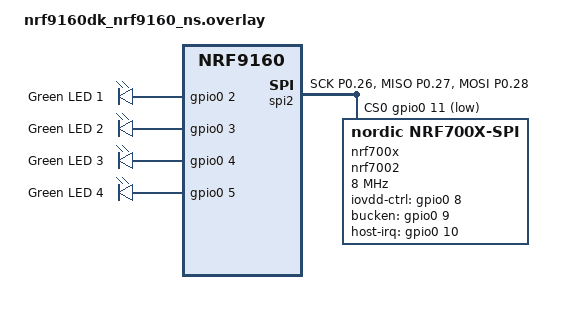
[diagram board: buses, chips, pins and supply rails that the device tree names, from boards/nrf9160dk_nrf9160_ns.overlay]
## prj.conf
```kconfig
#
# Copyright (c) 2021 Nordic Semiconductor ASA
#
# SPDX-License-Identifier: LicenseRef-Nordic-5-Clause
#

# General config
CONFIG_PICOLIBC=y
CONFIG_ASSERT=y
CONFIG_REBOOT=y
CONFIG_FPU=y

# Heap and stacks
CONFIG_HEAP_MEM_POOL_SIZE=47250
CONFIG_MAIN_STACK_SIZE=4000
CONFIG_SYSTEM_WORKQUEUE_STACK_SIZE=6000
CONFIG_HW_STACK_PROTECTION=y
# Increase AT monitor heap size to be able to fit both neighbor cell measurement
# and other AT notifications that may come in rapid succession.
CONFIG_AT_MONITOR_HEAP_SIZE=1024

# Logging
CONFIG_LOG=y
CONFIG_LOG_MODE_DEFERRED=y

# nRF modem library
CONFIG_NRF_MODEM_LIB=y
CONFIG_NRF_MODEM_LIB_ON_FAULT_APPLICATION_SPECIFIC=y

# AT Host library - Used to send AT commands directy from an UART terminal and to allow
#		    integration with nRF Connect for Desktop LTE Link monitor application.
CONFIG_AT_HOST_LIBRARY=y

# Network
CONFIG_NETWORKING=y
CONFIG_NET_NATIVE=n
CONFIG_NET_SOCKETS=y
CONFIG_NET_SOCKETS_OFFLOAD=y
CONFIG_NET_IPV6=y
CONFIG_NET_IPV4=y

# LTE link control
CONFIG_LTE_NETWORK_MODE_LTE_M_GPS=y
## Power saving timers.
### 320 hours PSM.
CONFIG_LTE_PSM_REQ=y
CONFIG_LTE_PSM_REQ_RPTAU="11000001"
### 20 seconds active time.
CONFIG_LTE_PSM_REQ_RAT="00001010"

# Settings - Used to store real-time device configuration to flash.
CONFIG_SETTINGS=y
CONFIG_SETTINGS_FCB=y
CONFIG_FCB=y

# FOTA
CONFIG_FOTA_DOWNLOAD=y
CONFIG_DFU_TARGET=y
CONFIG_DOWNLOAD_CLIENT=y
CONFIG_DOWNLOAD_CLIENT_HTTP_FRAG_SIZE_1024=y
CONFIG_DOWNLOAD_CLIENT_STACK_SIZE=4096
CONFIG_DOWNLOAD_CLIENT_BUF_SIZE=2300
CONFIG_DOWNLOAD_CLIENT_MAX_HOSTNAME_SIZE=128

# Flash - Used in FOTA, settings and storage for P-GPS.
CONFIG_FLASH=y
CONFIG_FLASH_PAGE_LAYOUT=y
CONFIG_FLASH_MAP=y
CONFIG_STREAM_FLASH=y
CONFIG_MPU_ALLOW_FLASH_WRITE=y

# MCUBOOT
CONFIG_BOOTLOADER_MCUBOOT=y
CONFIG_IMG_MANAGER=y
CONFIG_MCUBOOT_IMG_MANAGER=y
CONFIG_IMG_ERASE_PROGRESSIVELY=y
CONFIG_SECURE_BOOT=y
CONFIG_BUILD_S1_VARIANT=y
CONFIG_PM_EXTERNAL_FLASH_MCUBOOT_SECONDARY=n

# Watchdog
CONFIG_WATCHDOG_APPLICATION=y

# Application Event Manager
CONFIG_APP_EVENT_MANAGER=y
CONFIG_APP_EVENT_MANAGER_LOG_EVENT_TYPE=n

# cJSON - Used in cloud data encoding.
CONFIG_CJSON_LIB=y

# CAF - Common Application Framework
CONFIG_CAF=y
CONFIG_LED=y
CONFIG_CAF_LEDS=y
CONFIG_CAF_INIT_LOG_LED_READY_EVENTS=n
CONFIG_CAF_INIT_LOG_LED_EVENTS=n
CONFIG_CAF_INIT_LOG_MODULE_STATE_EVENTS=n

# Location related configuration
CONFIG_LOCATION=y
CONFIG_LOCATION_REQUEST_DEFAULT_METHOD_FIRST_GNSS=y
CONFIG_LOCATION_REQUEST_DEFAULT_METHOD_SECOND_CELLULAR=y
CONFIG_LOCATION_REQUEST_DEFAULT_GNSS_TIMEOUT=60000
CONFIG_LOCATION_DATA_DETAILS=y
CONFIG_LOCATION_LOG_LEVEL_ERR=y

# Default cloud transport service
CONFIG_NRF_CLOUD_MQTT=y
CONFIG_HW_ID_LIBRARY=y
CONFIG_HW_ID_LIBRARY_SOURCE_IMEI=y

#Culvert-Manu
#Added by Manu@Culvert
CONFIG_SENSOR=n
CONFIG_NRF_CLOUD_GPS_LOG_LEVEL_DBG=y
CONFIG_NRF_CLOUD_LOG_LEVEL_DBG=y
CONFIG_DATA_MODULE_LOG_LEVEL_DBG=y
CONFIG_LOCATION_LOG_LEVEL_DBG=y
CONFIG_CLOUD_CODEC_LOG_LEVEL_DBG=y
CONFIG_LOCATION_MODULE_LOG_LEVEL_DBG=y
CONFIG_I2C=y
CONFIG_DATA_ACTIVE_TIMEOUT_SECONDS=120
CONFIG_NRF_CLOUD_CLIENT_ID_PREFIX="dog-"
CONFIG_NRF_CLOUD_CLIENT_ID_SRC_IMEI=y
CONFIG_DATA_DEVICE_MODE_ACTIVE=y
CONFIG_ASSET_TRACKER_V2_APP_VERSION="0.1.15-dev"

CONFIG_SPI=n
CONFIG_NRFX_SPIS3=y
#CONFIG_MAIN_STACK_SIZE=2048
CONFIG_NRF_CLOUD_AGNSS=y
#CONFIG_NRF_CLOUD_PGPS=y
#CONFIG_USE_SEGGER_RTT=y
#CONFIG_LOG_BACKEND_RTT=y
#CONFIG_LOG_BACKEND_RTT_BUFFER=1
CONFIG_LOG_BLOCK_IN_THREAD=y
CONFIG_LOG_PROCESS_TRIGGER_THRESHOLD=1
CONFIG_APP_EVENT_MANAGER_LOG_LEVEL_DBG=y
#CONFIG_NRFX_SPIS_LOG=y
```

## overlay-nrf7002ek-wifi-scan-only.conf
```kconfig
#
# Copyright (c) 2022 Nordic Semiconductor ASA
#
# SPDX-License-Identifier: LicenseRef-Nordic-5-Clause
#

# Overlay to use nRF7002 EK on top of nrf91 DK for Wi-Fi scanning

# Disable modem traces as UART1 is disabled
CONFIG_NRF_MODEM_LIB_TRACE=n

# Does not work with buttons and LEDs
CONFIG_UI_MODULE=n
CONFIG_LED_CONTROL=n
CONFIG_LED=n
CONFIG_LED_GPIO=n
CONFIG_CAF_LEDS=n
CONFIG_DK_LIBRARY=n

# Actual configs for the Wi-Fi
CONFIG_WIFI=y
CONFIG_WIFI_NRF700X=n
# Align this with CONFIG_LOCATION_METHOD_WIFI_SCANNING_RESULTS_MAX_CNT
CONFIG_WIFI_MGMT_SCAN_MAX_BSS_CNT=30

# Wi-Fi location
CONFIG_LOCATION_METHOD_WIFI=y
CONFIG_LOCATION_REQUEST_DEFAULT_METHOD_FIRST_GNSS=y
CONFIG_LOCATION_REQUEST_DEFAULT_METHOD_SECOND_WIFI=y
CONFIG_LOCATION_REQUEST_DEFAULT_METHOD_THIRD_CELLULAR=y

# Align this with CONFIG_WIFI_MGMT_SCAN_MAX_BSS_CNT
CONFIG_LOCATION_METHOD_WIFI_SCANNING_RESULTS_MAX_CNT=30
CONFIG_LOCATION_WORKQUEUE_STACK_SIZE=8192
# Needed to handle more scan results
CONFIG_HEAP_MEM_POOL_SIZE=60000

# Not for LTE throughput testing
CONFIG_NRF_MODEM_LIB_SHMEM_TX_SIZE=4096
CONFIG_NRF_MODEM_LIB_SHMEM_RX_SIZE=4096

# Scan only using offload API
CONFIG_WPA_SUPP=n

# For nRF9160 the default is socket interface
CONFIG_NET_DEFAULT_IF_ETHERNET=y
CONFIG_MBEDTLS=n
CONFIG_NORDIC_SECURITY_BACKEND=n

# Networking
CONFIG_NET_L2_ETHERNET=y
CONFIG_NET_NATIVE=y
CONFIG_NET_IPV4=y
CONFIG_NET_DHCPV4=y
CONFIG_NET_STATISTICS=y
CONFIG_NET_STATISTICS_WIFI=y
CONFIG_NET_STATISTICS_USER_API=y
CONFIG_NET_CONTEXT_SYNC_RECV=y

# Disable unused networking options
CONFIG_NET_IPV6=n

# Memory configurations
CONFIG_NET_BUF_RX_COUNT=8
CONFIG_NET_BUF_TX_COUNT=8
CONFIG_NET_PKT_RX_COUNT=1
CONFIG_NET_PKT_TX_COUNT=1
CONFIG_NET_TX_STACK_SIZE=4096
CONFIG_NET_RX_STACK_SIZE=4096
CONFIG_NET_TC_TX_COUNT=1
CONFIG_NET_MAX_CONTEXTS=5
CONFIG_NET_MGMT_EVENT_STACK_SIZE=1024
```

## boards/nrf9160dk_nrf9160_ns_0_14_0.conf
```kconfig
#
# Copyright (c) 2023 Nordic Semiconductor ASA
#
# SPDX-License-Identifier: LicenseRef-Nordic-5-Clause
#

# Enable external flash
#CONFIG_SPI=y
#CONFIG_SPI_NOR=y
#CONFIG_SPI_NOR_SFDP_DEVICETREE=y
#CONFIG_PM_OVERRIDE_EXTERNAL_DRIVER_CHECK=y
```

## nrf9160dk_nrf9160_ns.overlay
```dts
asdf
&pinctrl {
	uart0_default: uart0_default {
		group1 {
			psels = <NRF_PSEL(UART_TX, 0, 18)>;
		};
		group2 {
			psels = <NRF_PSEL(UART_RX, 0, 17)>;
			bias-pull-up;
		};
	};

	uart0_sleep: uart0_sleep {
		group1 {
			psels = <NRF_PSEL(UART_TX, 0, 18)>,
				<NRF_PSEL(UART_RX, 0, 17)>;
			low-power-enable;
		};
	};
};
```

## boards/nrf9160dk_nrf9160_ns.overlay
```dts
/	{
	/delete-node/ leds;

	leds0 {
		compatible = "gpio-leds";
		status = "okay";
		label = "LED0";
		led0: led_0 {
			status = "okay";
			gpios = <&gpio0 2 0>;
			label = "Green LED 1";
		};
	};

	leds1 {
		compatible = "gpio-leds";
		status = "okay";
		label = "LED1";
		led1: led_1 {
			gpios = <&gpio0 3 0>;
			label = "Green LED 2";
		};
	};

	leds2 {
		compatible = "gpio-leds";
		status = "okay";
		label = "LED2";
		led2: led_2 {
			gpios = <&gpio0 4 0>;
			label = "Green LED 3";
		};
	};

	leds3 {
		compatible = "gpio-leds";
		status = "okay";
		label = "LED3";
		led3: led_3 {
			gpios = <&gpio0 5 0>;
			label = "Green LED 4";
		};
	};
};
&pinctrl {
        uart0_default: uart0_default {
                group1 {
                       psels = <NRF_PSEL(UART_TX, 0, 18)>;
                };
                group2 {
                       psels = <NRF_PSEL(UART_RX, 0, 17)>;
                        bias-pull-up;
                };
        };

        uart0_sleep: uart0_sleep {
                group1 {
                       psels = <NRF_PSEL(UART_TX, 0, 18)>,
                               <NRF_PSEL(UART_RX, 0, 17)>;
                        low-power-enable;
                };
        };

		spi2_default: spi2_default {
			group1 {
				psels = <NRF_PSEL(SPIM_SCK, 0, 26)>,
					<NRF_PSEL(SPIM_MISO, 0, 27)>,
					<NRF_PSEL(SPIM_MOSI, 0, 28)>;
				nordic,drive-mode = <NRF_DRIVE_H0H1>;
			};
		};
	
		spi2_sleep: spi2_sleep {
			group1 {
				psels = <NRF_PSEL(SPIM_SCK, 0, 26)>,
					<NRF_PSEL(SPIM_MISO, 0, 27)>,
					<NRF_PSEL(SPIM_MOSI, 0, 28)>;
				low-power-enable;
			};
		};

		spi3_default: spi3_default {
			group1 {
				psels = <NRF_PSEL(SPIM_SCK, 0, 10)>,
					<NRF_PSEL(SPIM_MISO, 0, 12)>,
					<NRF_PSEL(SPIM_MOSI, 0, 11)>;
				nordic,drive-mode = <NRF_DRIVE_H0H1>;
			};
		};
	
		spi3_sleep: spi3_sleep {
			group1 {
				psels = <NRF_PSEL(SPIM_SCK, 0, 10)>,
					<NRF_PSEL(SPIM_MISO, 0, 12)>,
					<NRF_PSEL(SPIM_MOSI, 0, 11)>;
				low-power-enable;
			};
		};

		spi_slave_default: spi_slave_default {
			group1 {
				psels = <NRF_PSEL(SPIM_SCK, 0, 16)>,
					<NRF_PSEL(SPIM_MISO, 0, 14)>,
					<NRF_PSEL(SPIM_MOSI, 0, 15)>;
				nordic,drive-mode = <NRF_DRIVE_H0H1>;
			};
		};
	
		spi_slave_sleep: spi_slave_sleep {
			group1 {
				psels = <NRF_PSEL(SPIM_SCK, 0, 16)>,
					<NRF_PSEL(SPIM_MISO, 0, 14)>,
					<NRF_PSEL(SPIM_MOSI, 0, 15)>;
				low-power-enable;
			};
		};
};


&i2c2 {
	status = "disabled";
};

&uart1 {
	status = "disabled";
};

&uart3 {
	status = "disabled";
};

&i2c3 {
	status = "disabled";
};

&mx25r64 {
	status = "disabled";
};

&arduino_spi {
	status = "disabled";
};

&spi3 {
	status = "disabled";
};

&spi2 {
	compatible = "nordic,nrf-spim";
	status = "okay";
	cs-gpios = <&gpio0 11 GPIO_ACTIVE_LOW>; /* D10 */
	pinctrl-0 = <&spi2_default>;
	pinctrl-1 = <&spi2_sleep>;
	pinctrl-names = "default", "sleep";

	nrf700x: nrf7002@0 {
		compatible = "nordic,nrf700x-spi";
		status = "okay";
		reg = <0>;
		spi-max-frequency = <DT_FREQ_M(8)>;

		iovdd-ctrl-gpios = <&gpio0 8 (GPIO_ACTIVE_HIGH | GPIO_PULL_DOWN)>;    /* D0 */
		bucken-gpios = <&gpio0 9 (GPIO_ACTIVE_HIGH | GPIO_PULL_DOWN)>;        /* D1 */
		host-irq-gpios = <&gpio0 10 GPIO_ACTIVE_HIGH>;     /* D7 */
	};
};

&spi3 {
	compatible = "nordic,nrf-spis";
	//status = "okay"; 
	pinctrl-0 = <&spi_slave_default>;
	pinctrl-1 = <&spi_slave_sleep>;
	pinctrl-names = "default", "sleep";
	def-char = <0xff>;
};

// arduino_spi: &spi3 {
// 	compatible = "nordic,nrf-spim";
// 	status = "okay";
// 	cs-gpios = <&arduino_header 16 GPIO_ACTIVE_LOW>; /* D10 */
// 	pinctrl-0 = <&spi3_default>;
// 	pinctrl-1 = <&spi3_sleep>;
// 	pinctrl-names = "default", "sleep";
// };
```

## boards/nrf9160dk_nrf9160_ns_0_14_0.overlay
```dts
/*
 * Copyright (c) 2023 Nordic Semiconductor ASA
 *
 * SPDX-License-Identifier: LicenseRef-Nordic-5-Clause
 */

/ {
	/* Configure partition manager to use mx25r64 as the external flash */
	chosen {
		nordic,pm-ext-flash = &mx25r64;
	};

	aliases {
		ext-flash = &mx25r64;
	};
};

&mx25r64 {
	status = "disabled";
};
```

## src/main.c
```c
/*
 * Copyright (c) 2021 Nordic Semiconductor ASA
 *
 * SPDX-License-Identifier: LicenseRef-Nordic-5-Clause
 */

#include <zephyr/kernel.h>
#include <stdio.h>
#include <string.h>
#include <stdlib.h>
#include <app_event_manager.h>
#include <modem/nrf_modem_lib.h>
#include <zephyr/sys/reboot.h>
#include <net/nrf_cloud.h>

/* Module name is used by the Application Event Manager macros in this file */
#define MODULE main
#include <caf/events/module_state_event.h>

#include "modules_common.h"
#include "events/app_module_event.h"
#include "events/cloud_module_event.h"
#include "events/data_module_event.h"
#include "events/sensor_module_event.h"
#include "events/util_module_event.h"
#include "events/modem_module_event.h"

#include <zephyr/logging/log.h>
#include <zephyr/logging/log_ctrl.h>

LOG_MODULE_REGISTER(MODULE, CONFIG_APPLICATION_MODULE_LOG_LEVEL);

bool disable_modem = true;

/* Message structure. Events from other modules are converted to messages
 * in the Application Event Manager handler, and then queued up in the message queue
 * for processing in the main thread.
 */
struct app_msg_data {
	union {
		struct cloud_module_event cloud;
		struct sensor_module_event sensor;
		struct data_module_event data;
		struct util_module_event util;
		struct modem_module_event modem;
		struct app_module_event app;
	} module;
};

/* Application module super states. */
static enum state_type {
	STATE_INIT,
	STATE_RUNNING,
	STATE_SHUTDOWN
} state;

/* Application sub states. The application can be in either active or passive
 * mode.
 *
 * Active mode: Sensor data and GNSS position is acquired at a configured
 *		interval and sent to cloud.
 *
 * Passive mode: Sensor data and GNSS position is acquired when movement is
 *		 detected, or after the configured movement timeout occurs.
 */
static enum sub_state_type {
	SUB_STATE_ACTIVE_MODE,
	SUB_STATE_PASSIVE_MODE,
} sub_state;

/* Internal copy of the device configuration. */
static struct cloud_data_cfg app_cfg;

/* Variable that keeps track whether modem static data has been successfully sampled by the
 * modem module. Modem static data does not change and only needs to be sampled and sent to cloud
 * once.
 */
static bool modem_static_sampled;

/* Variable that is set high whenever a sample request is ongoing. */
static bool sample_request_ongoing;

/* Variable that is set high whenever the device is considered active (under movement). */
static bool activity;

/* Timer callback used to signal when timeout has occurred both in active
 * and passive mode.
 */
static void data_sample_timer_handler(struct k_timer *timer);

/* Application module message queue. */
#define APP_QUEUE_ENTRY_COUNT		10
#define APP_QUEUE_BYTE_ALIGNMENT	4

/* Data fetching timeouts */
#define DATA_FETCH_TIMEOUT_DEFAULT 2

K_MSGQ_DEFINE(msgq_app, sizeof(struct app_msg_data), APP_QUEUE_ENTRY_COUNT,
	      APP_QUEUE_BYTE_ALIGNMENT);

/* Data sample timer used in active mode. */
K_TIMER_DEFINE(data_sample_timer, data_sample_timer_handler, NULL);

/* Movement timer used to detect movement timeouts in passive mode. */
K_TIMER_DEFINE(movement_timeout_timer, data_sample_timer_handler, NULL);

/* Movement resolution timer decides the period after movement that consecutive
 * movements are ignored and do not cause data collection. This is used to
 * lower power consumption by limiting how often GNSS search is performed and
 * data is sent on air.
 */
K_TIMER_DEFINE(movement_resolution_timer, NULL, NULL);

/* Module data structure to hold information of the application module, which
 * opens up for using convenience functions available for modules.
 */
static struct module_data self = {
	.name = "app",
	.msg_q = &msgq_app,
	.supports_shutdown = true,
};

/* Convenience functions used in internal state handling. */
static char *state2str(enum state_type new_state)
{
	switch (new_state) {
	case STATE_INIT:
		return "STATE_INIT";
	case STATE_RUNNING:
		return "STATE_RUNNING";
	case STATE_SHUTDOWN:
		return "STATE_SHUTDOWN";
	default:
		return "Unknown";
	}
}

static char *sub_state2str(enum sub_state_type new_state)
{
	switch (new_state) {
	case SUB_STATE_ACTIVE_MODE:
		return "SUB_STATE_ACTIVE_MODE";
	case SUB_STATE_PASSIVE_MODE:
		return "SUB_STATE_PASSIVE_MODE";
	default:
		return "Unknown";
	}
}

static void state_set(enum state_type new_state)
{
	if (new_state == state) {
		LOG_DBG("State: %s", state2str(state));
		return;
	}

	LOG_DBG("State transition %s --> %s",
		state2str(state),
		state2str(new_state));

	state = new_state;
}

static void sub_state_set(enum sub_state_type new_state)
{
	if (new_state == sub_state) {
		LOG_DBG("Sub state: %s", sub_state2str(sub_state));
		return;
	}

	LOG_DBG("Sub state transition %s --> %s",
		sub_state2str(sub_state),
		sub_state2str(new_state));

	sub_state = new_state;
}

#if defined(CONFIG_NRF_MODEM_LIB)

static void on_modem_lib_dfu(int dfu_res, void *ctx)
{
	switch (dfu_res) {
	case NRF_MODEM_DFU_RESULT_OK:
		LOG_DBG("MODEM UPDATE OK. Running new firmware");
		break;
	case NRF_MODEM_DFU_RESULT_UUID_ERROR:
	case NRF_MODEM_DFU_RESULT_AUTH_ERROR:
		LOG_ERR("MODEM UPDATE ERROR 0x%x. Running old firmware", dfu_res);
		break;
	case NRF_MODEM_DFU_RESULT_HARDWARE_ERROR:
	case NRF_MODEM_DFU_RESULT_INTERNAL_ERROR:
		LOG_ERR("MODEM UPDATE FATAL ERROR 0x%x. Modem failure", dfu_res);
		break;
	case NRF_MODEM_DFU_RESULT_VOLTAGE_LOW:
		LOG_ERR("MODEM UPDATE CANCELLED 0x%x.", dfu_res);
		LOG_ERR("Please reboot once you have sufficient power for the DFU");
		break;
	default:
		/* Unknown DFU result code */
		LOG_ERR("nRF modem DFU failed, error: 0x%x", dfu_res);
		break;
	}
}

NRF_MODEM_LIB_ON_DFU_RES(main_dfu_hook, on_modem_lib_dfu, NULL);

/* Check the return code from nRF modem library initialization to ensure that
 * the modem is rebooted or an error condition occurred during library initialization.
 */
static void modem_init(void)
{
	int ret;

	ret = nrf_modem_lib_init();
	if (ret == 0) {
		LOG_DBG("nRF Modem Library initialized successfully");
		return;
	}

	LOG_ERR("nRF modem lib initialization failed, error: %d", ret);

#if defined(CONFIG_NRF_CLOUD_FOTA)
	/* Ignore return value, rebooting below */
	(void)nrf_cloud_fota_pending_job_validate(NULL);
#endif
	LOG_DBG("Rebooting...");
	LOG_PANIC();
	sys_reboot(SYS_REBOOT_COLD);
}
#endif /* CONFIG_NRF_MODEM_LIB */

/* Application Event Manager handler. Puts event data into messages and adds them to the
 * application message queue.
 */
static bool app_event_handler(const struct app_event_header *aeh)
{
	struct app_msg_data msg = {0};
	bool enqueue_msg = false;

	if (is_cloud_module_event(aeh)) {
		struct cloud_module_event *evt = cast_cloud_module_event(aeh);

		msg.module.cloud = *evt;
		enqueue_msg = true;
	}

	if (is_app_module_event(aeh)) {
		struct app_module_event *evt = cast_app_module_event(aeh);

		msg.module.app = *evt;
		enqueue_msg = true;
	}

	if (is_data_module_event(aeh)) {
		struct data_module_event *evt = cast_data_module_event(aeh);

		msg.module.data = *evt;
		enqueue_msg = true;
	}

	if (is_sensor_module_event(aeh)) {
		struct sensor_module_event *evt = cast_sensor_module_event(aeh);

		msg.module.sensor = *evt;
		enqueue_msg = true;
	}

	if (is_util_module_event(aeh)) {
		struct util_module_event *evt = cast_util_module_event(aeh);

		msg.module.util = *evt;
		enqueue_msg = true;
	}

	if (is_modem_module_event(aeh)) {
		struct modem_module_event *evt = cast_modem_module_event(aeh);

		msg.module.modem = *evt;
		enqueue_msg = true;
	}

	if (enqueue_msg) {
		int err = module_enqueue_msg(&self, &msg);

		if (err) {
			LOG_ERR("Message could not be enqueued");
			SEND_ERROR(app, APP_EVT_ERROR, err);
		}
	}

	return false;
}

static void data_sample_timer_handler(struct k_timer *timer)
{
	ARG_UNUSED(timer);
	LOG_ERR("=====timer hit at %lld,%d======\n",k_uptime_get(),sample_request_ongoing);

	/* Cancel if a previous sample request has not completed. */
	if (sample_request_ongoing) {
		return;
	}

	LOG_ERR("=====Test=======sub_state = %d, activity = %d\n",sub_state,activity);

	/* Cancel if the data sample timer expired and device is not under activity in passive mode.
	 * Movement timeout timer triggers sampling also when there is no movement.
	 */
	if (timer == &data_sample_timer && sub_state == SUB_STATE_PASSIVE_MODE && !activity) {
		return;
	}
	LOG_ERR("=====Sending MSG=======\n");
	SEND_EVENT(app, APP_EVT_DATA_GET_ALL);
}

/* Static module functions. */
static void passive_mode_timers_start_all(void)
{
	LOG_DBG("Device mode: Passive");
	LOG_DBG("Start movement timeout: %d seconds interval", app_cfg.movement_timeout);

	LOG_DBG("%d seconds until movement can trigger a new data sample/publication",
		app_cfg.movement_resolution);

	k_timer_start(&data_sample_timer,
		      K_SECONDS(app_cfg.movement_resolution),
		      K_SECONDS(app_cfg.movement_resolution));

	k_timer_start(&movement_resolution_timer,
		      K_SECONDS(app_cfg.movement_resolution),
		      K_SECONDS(0));

	k_timer_start(&movement_timeout_timer,
		      K_SECONDS(app_cfg.movement_timeout),
		      K_SECONDS(app_cfg.movement_timeout));
}

static void active_mode_timers_start_all(void)
{
	LOG_DBG("Device mode: Active");
	LOG_DBG("Start data sample timer: %d seconds interval", app_cfg.active_wait_timeout);

	k_timer_start(&data_sample_timer,
		      K_SECONDS(app_cfg.active_wait_timeout),
		      K_SECONDS(app_cfg.active_wait_timeout));

	k_timer_stop(&movement_resolution_timer);
	k_timer_stop(&movement_timeout_timer);
}

static void activity_event_handle(enum sensor_module_event_type sensor_event)
{
	__ASSERT(((sensor_event == SENSOR_EVT_MOVEMENT_ACTIVITY_DETECTED) ||
		  (sensor_event == SENSOR_EVT_MOVEMENT_INACTIVITY_DETECTED)),
		  "Unknown event");

	activity = (sensor_event == SENSOR_EVT_MOVEMENT_ACTIVITY_DETECTED) ? true : false;

	if (sample_request_ongoing) {
		LOG_DBG("Sample request ongoing, abort request.");
		return;
	}

	if ((sensor_event == SENSOR_EVT_MOVEMENT_ACTIVITY_DETECTED) &&
	    (k_timer_remaining_get(&movement_resolution_timer) != 0)) {
		LOG_DBG("Movement resolution timer has not expired, abort request.");
		return;
	}

	SEND_EVENT(app, APP_EVT_DATA_GET_ALL);
	passive_mode_timers_start_all();
}

static void data_get(void)
{
	struct app_module_event *app_module_event = new_app_module_event();

	__ASSERT(app_module_event, "Not enough heap left to allocate event");

	size_t count = 0;

	/* Set a low sample timeout. If location is requested, the sample timeout
	 * will be increased to accommodate the location request.
	 */
	app_module_event->timeout = DATA_FETCH_TIMEOUT_DEFAULT;

	/* Specify which data that is to be included in the transmission. */
	app_module_event->data_list[count++] = APP_DATA_MODEM_DYNAMIC;
	app_module_event->data_list[count++] = APP_DATA_BATTERY;
	app_module_event->data_list[count++] = APP_DATA_ENVIRONMENTAL;

	if (!modem_static_sampled) {
		app_module_event->data_list[count++] = APP_DATA_MODEM_STATIC;
	}

	if (!app_cfg.no_data.neighbor_cell || !app_cfg.no_data.gnss || !app_cfg.no_data.wifi) {
		app_module_event->data_list[count++] = APP_DATA_LOCATION;

		/* Set application module timeout when location sampling is requested.
		 * This is selected to be long enough so that most of the GNSS would
		 * have enough time to run to get a fix. We also want it to be smaller than
		 * the sampling interval (120s). So, 110s was selected but we take
		 * minimum of sampling interval minus 5 (just some selected number) and 110.
		 * And mode (active or passive) is taken into account.
		 * If the timeout would become smaller than 5s, we want to ensure some time for
		 * the modules so the minimum value for application module timeout is 5s.
		 */
		app_module_event->timeout = (app_cfg.active_mode) ?
			MIN(app_cfg.active_wait_timeout - 5, 110) :
			MIN(app_cfg.movement_resolution - 5, 110);
		app_module_event->timeout = MAX(app_module_event->timeout, 5);
	}

	/* Set list count to number of data types passed in app_module_event. */
	app_module_event->count = count;
	app_module_event->type = APP_EVT_DATA_GET;

	APP_EVENT_SUBMIT(app_module_event);
}

/* Message handler for STATE_INIT. */
static void on_state_init(struct app_msg_data *msg)
{
	if (IS_EVENT(msg, data, DATA_EVT_CONFIG_INIT)) {
		/* Keep a copy of the new configuration. */
		app_cfg = msg->module.data.data.cfg;

		if (app_cfg.active_mode) {
			active_mode_timers_start_all();
		} else {
			passive_mode_timers_start_all();
		}

		state_set(STATE_RUNNING);
		sub_state_set(app_cfg.active_mode ? SUB_STATE_ACTIVE_MODE :
						    SUB_STATE_PASSIVE_MODE);
	}
}

/* Message handler for STATE_RUNNING. */
static void on_state_running(struct app_msg_data *msg)
{
	/* A flag used to trigger sampling when connected to the cloud for the first time. Cloud
	 * connection re-establishment should not trigger sampling.
	 */
	static bool initial_sampling_requested;

	if (IS_EVENT(msg, cloud, CLOUD_EVT_CONNECTED) && !initial_sampling_requested) {
		data_get();

		initial_sampling_requested = true;
	}

	if (IS_EVENT(msg, app, APP_EVT_DATA_GET_ALL)) {
		data_get();
	}
}

/* Message handler for SUB_STATE_PASSIVE_MODE. */
void on_sub_state_passive(struct app_msg_data *msg)
{
	if (IS_EVENT(msg, data, DATA_EVT_CONFIG_READY)) {
		/* Keep a copy of the new configuration. */
		app_cfg = msg->module.data.data.cfg;

		if (app_cfg.active_mode) {
			active_mode_timers_start_all();
			sub_state_set(SUB_STATE_ACTIVE_MODE);
			return;
		}

		passive_mode_timers_start_all();
	}

	if ((IS_EVENT(msg, sensor, SENSOR_EVT_MOVEMENT_ACTIVITY_DETECTED)) ||
	    (IS_EVENT(msg, sensor, SENSOR_EVT_MOVEMENT_INACTIVITY_DETECTED))) {
		activity_event_handle(msg->module.sensor.type);
	}
}

/* Message handler for SUB_STATE_ACTIVE_MODE. */
static void on_sub_state_active(struct app_msg_data *msg)
{
	if (IS_EVENT(msg, data, DATA_EVT_CONFIG_READY)) {
		/* Keep a copy of the new configuration. */
		app_cfg = msg->module.data.data.cfg;

		if (!app_cfg.active_mode) {
			passive_mode_timers_start_all();
			sub_state_set(SUB_STATE_PASSIVE_MODE);
			return;
		}

		active_mode_timers_start_all();
	}
}

/* Message handler for all states. */
static void on_all_events(struct app_msg_data *msg)
{
	if (IS_EVENT(msg, util, UTIL_EVT_SHUTDOWN_REQUEST)) {
		k_timer_stop(&data_sample_timer);
		k_timer_stop(&movement_timeout_timer);
		k_timer_stop(&movement_resolution_timer);

		SEND_SHUTDOWN_ACK(app, APP_EVT_SHUTDOWN_READY, self.id);
		state_set(STATE_SHUTDOWN);
	}

	if (IS_EVENT(msg, modem, MODEM_EVT_MODEM_STATIC_DATA_READY)) {
		modem_static_sampled = true;
	}

	if (IS_EVENT(msg, app, APP_EVT_DATA_GET)) {
		sample_request_ongoing = true;
	}

	if (IS_EVENT(msg, data, DATA_EVT_DATA_READY)) {
		sample_request_ongoing = false;
	}

	if (IS_EVENT(msg, sensor, SENSOR_EVT_MOVEMENT_IMPACT_DETECTED)) {
		SEND_EVENT(app, APP_EVT_DATA_GET_ALL);
	}
}

int main(void)
{
	int err;
	struct app_msg_data msg = { 0 };


	LOG_ERR("MHR Says booting up, version %s",CONFIG_ASSET_TRACKER_V2_APP_VERSION);
	if (app_event_manager_init()) {
		/* Without the Application Event Manager, the application will not work
		 * as intended. A reboot is required in an attempt to recover.
		 */
		LOG_ERR("Application Event Manager could not be initialized, rebooting...");
		k_sleep(K_SECONDS(5));
		sys_reboot(SYS_REBOOT_COLD);
	} else {
		module_set_state(MODULE_STATE_READY);
#if defined(CONFIG_NRF_MODEM_LIB)
		modem_init();
#endif
		//MHR and SMR quiesing the modem while not ready
		while(disable_modem) {
			k_sleep(K_SECONDS(1));
			LOG_ERR("modem disabled, waiting...");
		}
		SEND_EVENT(app, APP_EVT_START);

	}



	self.thread_id = k_current_get();

	err = module_start(&self);
	if (err) {
		LOG_ERR("Failed starting module, error: %d", err);
		SEND_ERROR(app, APP_EVT_ERROR, err);
	}

	while (true) {
		module_get_next_msg(&self, &msg);

		switch (state) {
		case STATE_INIT:
			on_state_init(&msg);
			break;
		case STATE_RUNNING:
			switch (sub_state) {
			case SUB_STATE_ACTIVE_MODE:
				on_sub_state_active(&msg);
				break;
			case SUB_STATE_PASSIVE_MODE:
				on_sub_state_passive(&msg);
				break;
			default:
				LOG_ERR("Unknown sub state");
				break;
			}

			on_state_running(&msg);
			break;
		case STATE_SHUTDOWN:
			/* The shutdown state has no transition. */
			break;
		default:
			LOG_ERR("Unknown state");
			break;
		}

		on_all_events(&msg);
	}
	return 0;
}

APP_EVENT_LISTENER(MODULE, app_event_handler);
APP_EVENT_SUBSCRIBE_EARLY(MODULE, cloud_module_event);
APP_EVENT_SUBSCRIBE(MODULE, app_module_event);
APP_EVENT_SUBSCRIBE(MODULE, data_module_event);
APP_EVENT_SUBSCRIBE(MODULE, util_module_event);
APP_EVENT_SUBSCRIBE_FINAL(MODULE, sensor_module_event);
APP_EVENT_SUBSCRIBE_FINAL(MODULE, modem_module_event);
```
